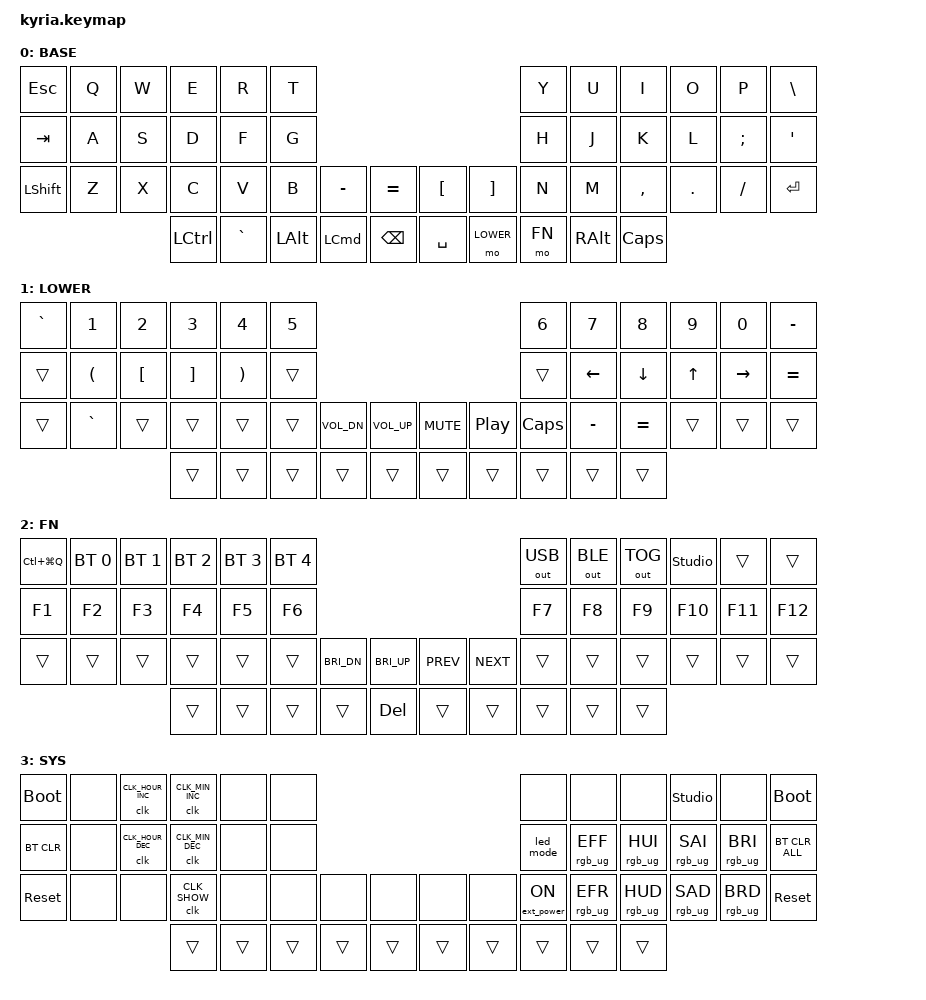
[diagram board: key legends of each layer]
/*
 * Kyria — splitkb Kyria rev3, ZMK.
 *
 * Built for a friend who comes from ordinary keyboards. The alpha block, the
 * layers and the thumb order follow the besimboard (Aurora Lily58); the number
 * row lives on LOWER, and the two upper thumb keys of each half carry what the
 * missing row and the narrower bottom row took away.
 *
 * SPDX-License-Identifier: MIT
 */

#include <behaviors.dtsi>
#include <dt-bindings/zmk/keys.h>
#include <dt-bindings/zmk/bt.h>
#include <dt-bindings/zmk/outputs.h>
#include <dt-bindings/zmk/rgb.h>
#include <dt-bindings/zmk/ext_power.h>
#include <dt-bindings/shared/clock.h>

#define BASE  0
#define LOWER 1
#define FN    2
#define SYS   3

/* macOS shortcut */
#define MAC_LOCK LC(LG(Q))

/ {
    behaviors {
        // The clock of the OLED status screen: &clk CLK_SHOW, CLK_HOUR_INC, ...
        // (include/dt-bindings/shared/clock.h). The driver is built on the left
        // half only; on the right the key does nothing.
        //
        // The board has switches, not encoders, in the encoder positions, so
        // there are no sensor-bindings here (see the end of this file).
        clk: oled_clock {
            compatible = "zmk,behavior-oled-clock";
            #binding-cells = <1>;
            display-name = "Clock";
        };

        // The LED mode key: off, underglow, per-key, both, on both halves.
        led_mode: led_mode {
            compatible = "zmk,behavior-led-mode";
            #binding-cells = <0>;
            display-name = "LED mode";
        };
    };

    // LOWER and FN held together give SYS.
    conditional_layers {
        compatible = "zmk,conditional-layers";
        sys_tri_layer {
            if-layers = <LOWER FN>;
            then-layer = <SYS>;
        };
    };

    // LEDs. One chain of 31 per half: LEDs 0-5 are the underglow, 6-30 sit
    // under the keys, from the thumb cluster up (order taken from QMK's rev3
    // rgb_matrix). The chain is written through one frame (src/shared/led_frame.c):
    // ZMK's underglow sees only the six underglow LEDs through the window below,
    // the per-key effect (src/shared/key_rgb.c) lights a pressed key's LED in a
    // random colour and fades it out. &led_mode cycles off, underglow, per-key,
    // both.
    led_frame {
        compatible = "skuratovich,led-frame";
        strip = <&led_strip>;
    };

    rgb_window: rgb_window {
        compatible = "skuratovich,led-strip-window";
        offset = <0>;
        chain-length = <6>;
    };

    chosen {
        zmk,underglow = &rgb_window;
    };

    // One entry per key in keymap order: the LED's index in the chain of the
    // half that carries the key.
    key_rgb {
        compatible = "skuratovich,key-rgb";
        key-leds = <
            30 29 28 27 26 25                        25 26 27 28 29 30
            24 23 22 21 20 19                        19 20 21 22 23 24
            18 17 16 15 14 13 12 11            11 12 13 14 15 16 17 18
                     10  9  8  7  6            6  7  8  9 10
        >;
    };

    keymap {
        compatible = "zmk,keymap";

        base_layer {
            display-name = "BASE";
            // ----------------------------------------------------------------------------------------------------
            // |  ESC  | Q | W |  E   | R |  T  |                              | Y  |  U   |  I   | O | P |   \   |
            // |  TAB  | A | S |  D   | F |  G  |                              | H  |  J   |  K   | L | ; |   '   |
            // | SHIFT | Z | X |  C   | V |  B  |  -  |  =   |   |  [  |   ]   | N  |  M   |  ,   | . | / | ENTER |
            //                 | CTRL | ` | OPT | CMD | BSPC |   | SPC | LOWER | FN | RALT | CAPS |
            bindings = <
&kp ESC         &kp Q  &kp W  &kp E      &kp R      &kp T                                                                &kp Y   &kp U          &kp I         &kp O    &kp P     &kp BACKSLASH
&kp TAB         &kp A  &kp S  &kp D      &kp F      &kp G                                                                &kp H   &kp J          &kp K         &kp L    &kp SEMI  &kp SQT
&kp LEFT_SHIFT  &kp Z  &kp X  &kp C      &kp V      &kp B     &kp MINUS         &kp EQUAL          &kp LBKT   &kp RBKT   &kp N   &kp M          &kp COMMA     &kp DOT  &kp FSLH  &kp ENTER
                              &kp LCTRL  &kp GRAVE  &kp LALT  &kp LEFT_COMMAND  &kp BACKSPACE      &kp SPACE  &mo LOWER  &mo FN  &kp RIGHT_ALT  &kp CAPSLOCK
            >;
        };

        lower_layer {
            display-name = "LOWER";
            // --------------------------------------------------------------------------------------
            // | ` | 1 | 2 | 3 | 4 | 5 |                               |  6   | 7  | 8 | 9 | 0  | - |
            // |   | ( | [ | ] | ) |   |                               |      | <- | v | ^ | -> | = |
            // |   | ` |   |   |   |   | VOL- | VOL+ |   | MUTE | PLAY | CAPS | -  | = |   |    |   |
            //             |   |   |   |      |      |   |      |      |      |    |   |
            bindings = <
&kp GRAVE  &kp N1     &kp N2    &kp N3    &kp N4    &kp N5                                                                &kp N6        &kp N7     &kp N8     &kp N9  &kp N0     &kp MINUS
&trans     &kp LPAR   &kp LBKT  &kp RBKT  &kp RPAR  &trans                                                                &trans        &kp LEFT   &kp DOWN   &kp UP  &kp RIGHT  &kp EQUAL
&trans     &kp GRAVE  &trans    &trans    &trans    &trans  &kp C_VOL_DN  &kp C_VOL_UP      &kp C_MUTE  &kp C_PLAY_PAUSE  &kp CAPSLOCK  &kp MINUS  &kp EQUAL  &trans  &trans     &trans
                                &trans    &trans    &trans  &trans        &trans            &trans      &trans            &trans        &trans     &trans
            >;
        };

        fn_layer {
            display-name = "FN";
            // -------------------------------------------------------------------------------------------------------------
            // | LOCK | BT1 | BT2 | BT3 | BT4 | BT5 |                               | USB | BLE | TOG | UNLOCK |     |     |
            // |  F1  |  F2 |  F3 |  F4 |  F5 |  F6 |                               |  F7 |  F8 |  F9 |  F10   | F11 | F12 |
            // |      |     |     |     |     |     | BRI- | BRI+ |   | PREV | NEXT |     |     |     |        |     |     |
            //                    |     |     |     |      | DEL  |   |      |      |     |     |     |
            //
            // BT1-5 select a Bluetooth profile, USB/BLE/TOG pick the output, UNLOCK opens
            // the keyboard for ZMK Studio (zmk.studio, over USB or Bluetooth, left half).
            // LOCK locks the Mac. FN + Backspace is Delete. The keys that can hurt (pairing,
            // bootloader, reset, LEDs, clock) sit one layer further, on SYS.
            bindings = <
&kp MAC_LOCK  &bt BT_SEL 0  &bt BT_SEL 1  &bt BT_SEL 2  &bt BT_SEL 3  &bt BT_SEL 4                                                          &out OUT_USB  &out OUT_BLE  &out OUT_TOG  &studio_unlock  &trans   &trans
&kp F1        &kp F2        &kp F3        &kp F4        &kp F5        &kp F6                                                                &kp F7        &kp F8        &kp F9        &kp F10         &kp F11  &kp F12
&trans        &trans        &trans        &trans        &trans        &trans        &kp C_BRI_DN  &kp C_BRI_UP      &kp C_PREV  &kp C_NEXT  &trans        &trans        &trans        &trans          &trans   &trans
                                          &trans        &trans        &trans        &trans        &kp DEL           &trans      &trans      &trans        &trans        &trans
            >;
        };

        sys_layer {
            display-name = "SYS";
            // ------------------------------------------------------------------------------------------------------
            // |  BOOT  | x | H+ |   M+  | x | x |                   |  x   |  x   |  x   | UNLOCK |  x   |   BOOT  |
            // | BT CLR | x | H- |   M-  | x | x |                   | LEDS | EFF+ | HUE+ |  SAT+  | LED+ | CLR ALL |
            // | RESET  | x | x  | CLOCK | x | x | x | x |   | x | x | PWR  | EFF- | HUE- |  SAT-  | LED- |  RESET  |
            //                   |       |   |   |   |   |   |   |   |      |      |      |
            //
            // Reached by holding LOWER and FN together. x does nothing, so a slip on this
            // layer cannot reach the Bluetooth keys of FN.
            // BOOT puts that half into the bootloader and RESET restarts that half; both act
            // on the half where the key is. BT CLR forgets the pairing of the current
            // profile, CLR ALL forgets all of them. LEDS cycles the LED mode on both halves:
            // off, underglow only, per-key only (a pressed key lights up and fades),
            // underglow and per-key. EFF, HUE, SAT and LED step the underglow's effect, hue,
            // saturation and brightness up (home row) and down (the row below), on both
            // halves. H+, H-, M+ and M- set the clock of the OLED,
            // CLOCK shows it for a few seconds. PWR switches the 3.3 V rail that feeds the
            // OLED and the LEDs back on if it was ever stored as off: press it, wait a
            // minute for the setting to be saved, then RESET the left half so the OLED
            // initialises again.
            bindings = <
&bootloader  &none  &clk CLK_HOUR_INC  &clk CLK_MIN_INC  &none   &none                                       &none             &none            &none            &studio_unlock   &none            &bootloader
&bt BT_CLR   &none  &clk CLK_HOUR_DEC  &clk CLK_MIN_DEC  &none   &none                                       &led_mode         &rgb_ug RGB_EFF  &rgb_ug RGB_HUI  &rgb_ug RGB_SAI  &rgb_ug RGB_BRI  &bt BT_CLR_ALL
&sys_reset   &none  &none              &clk CLK_SHOW     &none   &none   &none   &none       &none   &none   &ext_power EP_ON  &rgb_ug RGB_EFR  &rgb_ug RGB_HUD  &rgb_ug RGB_SAD  &rgb_ug RGB_BRD  &sys_reset
                                       &trans            &trans  &trans  &trans  &trans      &trans  &trans  &trans            &trans           &trans
            >;
        };
    };
};

/*
 * RGB LEDs. A rev3 half carries 25 per-key LEDs and 6 underglow LEDs on one
 * chain; the shield's default is 10. Extra entries are harmless on a half with
 * fewer LEDs.
 */
&led_strip {
    chain-length = <31>;
};

/*
 * No encoders are fitted (switches sit in their positions), so the encoder
 * nodes and the sensors node are switched off. Without this ZMK links in the
 * EC11 driver and a sensor keymap for hardware that is not there.
 */
&left_encoder {
    status = "disabled";
};

&right_encoder {
    status = "disabled";
};

&sensors {
    status = "disabled";
};
